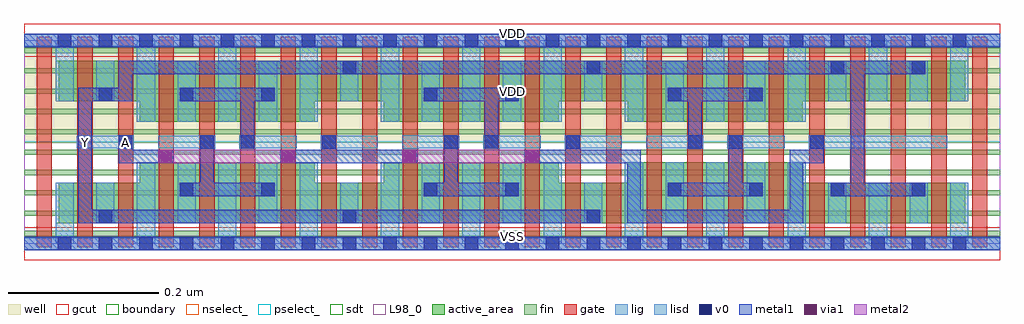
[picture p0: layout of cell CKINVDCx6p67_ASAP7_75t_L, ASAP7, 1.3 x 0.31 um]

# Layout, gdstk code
import gdstk
lib = gdstk.Library(unit=1e-6, precision=2.5e-10)
def R(c, l, rs):  # rectangles x0, y0, x1, y1
    for r in rs: c.add(gdstk.rectangle(r[:2], r[2:], *l))
def A(c, l, x, y, w, h, nx, ny, dx, dy):  # array of equal rectangles
    R(c, l, [(x+i*dx, y+j*dy, x+i*dx+w, y+j*dy+h) for i in range(nx) for j in range(ny)])
def P(c, l, *ps):  # polygons
    for p in ps: c.add(gdstk.Polygon(p, *l))
well = (1, 0)
fin = (2, 0)
gate = (7, 0)
gcut = (10, 0)
active_area = (11, 0)
nselect_ = (12, 0)
pselect_ = (13, 0)
lig = (16, 0)
lisd = (17, 0)
v0 = (18, 0)
metal1 = (19, 0)
metal2 = (20, 0)
via1 = (21, 0)
sdt = (88, 0)
L98_0 = (98, 0)
boundary = (100, 0)

ckinvdcx6p67_asap7_75t_l = lib.new_cell('CKINVDCx6p67_ASAP7_75t_L')
R(ckinvdcx6p67_asap7_75t_l, well, [(0,0.135,1.296,0.27)])
A(ckinvdcx6p67_asap7_75t_l, fin, 0, 0.01, 1.296, 0.007, 1, 10, 0, 0.027)
A(ckinvdcx6p67_asap7_75t_l, gate, 0.017, -0.005, 0.02, 0.28, 24, 1, 0.054, 0)
R(ckinvdcx6p67_asap7_75t_l, gcut, [(0,-0.022,1.296,0.022), (0,0.248,1.296,0.292)])
P(ckinvdcx6p67_asap7_75t_l, active_area, [(1.034,0.108),(0.802,0.108),(0.802,0.081),(0.71,0.081),(0.71,0.108),(0.478,0.108),(0.478,0.081),(0.386,0.081),(0.386,0.108),(0.154,0.108),(0.154,0.081),(0.046,0.081),(0.046,0.027),(1.25,0.027),(1.25,0.081),(1.034,0.081)],
  [(1.25,0.243),(0.046,0.243),(0.046,0.189),(0.154,0.189),(0.154,0.162),(0.386,0.162),(0.386,0.189),(0.478,0.189),(0.478,0.162),(0.71,0.162),(0.71,0.189),(0.802,0.189),(0.802,0.162),(1.034,0.162),(1.034,0.189),(1.25,0.189)])
R(ckinvdcx6p67_asap7_75t_l, nselect_, [(0,0,1.296,0.135)])
R(ckinvdcx6p67_asap7_75t_l, pselect_, [(0,0.135,1.296,0.27)])
A(ckinvdcx6p67_asap7_75t_l, lig, 0.286, 0.126, 0.022, 0.018, 5, 1, 0.108, 0)
A(ckinvdcx6p67_asap7_75t_l, lig, 0.07, 0.127, 0.076, 0.016, 9, 1, 0.108, 0)
R(ckinvdcx6p67_asap7_75t_l, lig, [(0,-0.008,1.296,0.008), (0.124,0.126,0.146,0.144), (0.232,0.126,0.254,0.144), (0.88,0.126,0.902,0.144), (0.934,0.126,0.956,0.144), (1.042,0.126,1.064,0.144), (1.042,0.127,1.226,0.143), (0,0.262,1.296,0.278)])
A(ckinvdcx6p67_asap7_75t_l, lisd, 0.096, 0.027, 0.024, 0.054, 4, 2, 0.324, 0.162)
R(ckinvdcx6p67_asap7_75t_l, lisd, [(0.042,0,0.066,0.081), (0.042,0,0.066,0.081), (0.15,0,0.174,0.108), (0.15,0,0.174,0.108), (0.258,0,0.282,0.108), (0.258,0,0.282,0.108), (0.366,0,0.39,0.108), (0.366,0,0.39,0.108), (0.474,0,0.498,0.108), (0.474,0,0.498,0.108), (0.582,0,0.606,0.108), (0.582,0,0.606,0.108), (0.69,0,0.714,0.108), (0.69,0,0.714,0.108), (0.798,0,0.822,0.108), (0.798,0,0.822,0.108), (0.906,0,0.93,0.108), (0.906,0,0.93,0.108), (1.014,0,1.038,0.108), (1.014,0,1.038,0.108), (1.122,0,1.146,0.081), (1.122,0,1.146,0.081), (1.23,0,1.254,0.081), (1.23,0,1.254,0.081), (0.204,0.027,0.228,0.108), (0.312,0.027,0.336,0.108), (0.528,0.027,0.552,0.108), (0.636,0.027,0.66,0.108), (0.852,0.027,0.876,0.108), (0.96,0.027,0.984,0.108), (1.176,0.027,1.2,0.081), (0.15,0.162,0.174,0.27), (0.15,0.162,0.174,0.27), (0.204,0.162,0.228,0.243), (0.258,0.162,0.282,0.27), (0.258,0.162,0.282,0.27), (0.312,0.162,0.336,0.243), (0.366,0.162,0.39,0.27), (0.366,0.162,0.39,0.27), (0.474,0.162,0.498,0.27), (0.474,0.162,0.498,0.27), (0.528,0.162,0.552,0.243), (0.582,0.162,0.606,0.27), (0.582,0.162,0.606,0.27), (0.636,0.162,0.66,0.243), (0.69,0.162,0.714,0.27), (0.69,0.162,0.714,0.27), (0.798,0.162,0.822,0.27), (0.798,0.162,0.822,0.27), (0.852,0.162,0.876,0.243), (0.906,0.162,0.93,0.27), (0.906,0.162,0.93,0.27), (0.96,0.162,0.984,0.243), (1.014,0.162,1.038,0.27), (1.014,0.162,1.038,0.27), (0.042,0.189,0.066,0.27), (0.042,0.189,0.066,0.27), (1.122,0.189,1.146,0.27), (1.122,0.189,1.146,0.27), (1.176,0.189,1.2,0.243), (1.23,0.189,1.254,0.27), (1.23,0.189,1.254,0.27)])
A(ckinvdcx6p67_asap7_75t_l, v0, 0.045, -0.009, 0.018, 0.018, 23, 2, 0.054, 0.27)
A(ckinvdcx6p67_asap7_75t_l, v0, 0.099, 0.027, 0.018, 0.018, 3, 1, 0.324, 0)
A(ckinvdcx6p67_asap7_75t_l, v0, 0.855, 0.063, 0.018, 0.018, 4, 1, 0.108, 0)
A(ckinvdcx6p67_asap7_75t_l, v0, 0.099, 0.189, 0.018, 0.018, 3, 1, 0.108, 0)
A(ckinvdcx6p67_asap7_75t_l, v0, 0.423, 0.225, 0.018, 0.018, 3, 1, 0.324, 0)
R(ckinvdcx6p67_asap7_75t_l, v0, [(0.207,0.063,0.225,0.081), (0.315,0.063,0.333,0.081), (0.531,0.063,0.549,0.081), (0.639,0.063,0.657,0.081), (0.126,0.126,0.144,0.144), (0.234,0.126,0.252,0.144), (0.288,0.126,0.306,0.144), (0.396,0.126,0.414,0.144), (0.558,0.126,0.576,0.144), (0.612,0.126,0.63,0.144), (0.72,0.126,0.738,0.144), (0.882,0.126,0.9,0.144), (0.936,0.126,0.954,0.144), (1.044,0.126,1.062,0.144), (0.531,0.189,0.549,0.207), (0.639,0.189,0.657,0.207), (0.855,0.189,0.873,0.207), (0.963,0.189,0.981,0.207), (1.179,0.225,1.197,0.243)])
A(ckinvdcx6p67_asap7_75t_l, metal1, 0.099, 0.027, 0.018, 0.018, 3, 1, 0.324, 0)
A(ckinvdcx6p67_asap7_75t_l, metal1, 0.855, 0.063, 0.018, 0.018, 4, 1, 0.108, 0)
A(ckinvdcx6p67_asap7_75t_l, metal1, 0.099, 0.189, 0.018, 0.018, 3, 1, 0.108, 0)
A(ckinvdcx6p67_asap7_75t_l, metal1, 0.423, 0.225, 0.018, 0.018, 3, 1, 0.324, 0)
R(ckinvdcx6p67_asap7_75t_l, metal1, [(0,-0.009,1.296,0.009), (0.207,0.063,0.225,0.081), (0.315,0.063,0.333,0.081), (0.531,0.063,0.549,0.081), (0.639,0.063,0.657,0.081), (0.18,0.107,0.198,0.125), (0.34,0.107,0.362,0.125), (0.504,0.107,0.522,0.125), (0.664,0.107,0.686,0.125), (0.126,0.126,0.144,0.144), (0.234,0.126,0.252,0.144), (0.288,0.126,0.306,0.144), (0.396,0.126,0.414,0.144), (0.558,0.126,0.576,0.144), (0.612,0.126,0.63,0.144), (0.72,0.126,0.738,0.144), (0.882,0.126,0.9,0.144), (0.936,0.126,0.954,0.144), (1.044,0.126,1.062,0.144), (0.531,0.189,0.549,0.207), (0.639,0.189,0.657,0.207), (0.855,0.189,0.873,0.207), (0.963,0.189,0.981,0.207), (1.179,0.225,1.197,0.243), (0,0.261,1.296,0.279)])
P(ckinvdcx6p67_asap7_75t_l, metal1, [(1.044,0.144),(1.044,0.125),(1.017,0.125),(1.017,0.045),(0.819,0.045),(0.819,0.125),(0.738,0.125),(0.738,0.144),(0.72,0.144),(0.72,0.125),(0.666,0.125),(0.666,0.107),(0.801,0.107),(0.801,0.027),(1.035,0.027),(1.035,0.107),(1.062,0.107),(1.062,0.144)],
  [(0.198,0.125),(0.144,0.125),(0.144,0.144),(0.126,0.144),(0.126,0.107),(0.198,0.107)],
  [(0.522,0.125),(0.414,0.125),(0.414,0.144),(0.396,0.144),(0.396,0.125),(0.342,0.125),(0.342,0.107),(0.522,0.107)],
  [(1.197,0.243),(0.126,0.243),(0.126,0.207),(0.072,0.207),(0.072,0.027),(0.765,0.027),(0.765,0.045),(0.09,0.045),(0.09,0.189),(0.144,0.189),(0.144,0.225),(1.098,0.225),(1.098,0.081),(1.071,0.081),(1.071,0.063),(1.197,0.063),(1.197,0.081),(1.116,0.081),(1.116,0.225),(1.197,0.225)],
  [(0.252,0.144),(0.234,0.144),(0.234,0.081),(0.207,0.081),(0.207,0.063),(0.333,0.063),(0.333,0.081),(0.252,0.081)],
  [(0.207,0.189),(0.288,0.189),(0.288,0.126),(0.306,0.126),(0.306,0.189),(0.333,0.189),(0.333,0.207),(0.207,0.207)],
  [(0.576,0.144),(0.558,0.144),(0.558,0.081),(0.531,0.081),(0.531,0.063),(0.657,0.063),(0.657,0.081),(0.576,0.081)],
  [(0.531,0.189),(0.612,0.189),(0.612,0.126),(0.63,0.126),(0.63,0.189),(0.657,0.189),(0.657,0.207),(0.531,0.207)],
  [(0.981,0.207),(0.855,0.207),(0.855,0.189),(0.882,0.189),(0.882,0.126),(0.9,0.126),(0.9,0.189),(0.981,0.189)],
  [(0.981,0.081),(0.954,0.081),(0.954,0.144),(0.936,0.144),(0.936,0.081),(0.855,0.081),(0.855,0.063),(0.981,0.063)])
R(ckinvdcx6p67_asap7_75t_l, metal2, [(0.178,0.107,0.36,0.125), (0.502,0.107,0.684,0.125)])
R(ckinvdcx6p67_asap7_75t_l, via1, [(0.178,0.107,0.196,0.125), (0.342,0.107,0.36,0.125), (0.502,0.107,0.52,0.125), (0.666,0.107,0.684,0.125)])
A(ckinvdcx6p67_asap7_75t_l, sdt, 0.096, 0.027, 0.024, 0.054, 4, 2, 0.324, 0.162)
A(ckinvdcx6p67_asap7_75t_l, sdt, 0.15, 0.027, 0.024, 0.081, 3, 2, 0.054, 0.135)
A(ckinvdcx6p67_asap7_75t_l, sdt, 0.258, 0.027, 0.024, 0.081, 3, 2, 0.054, 0.135)
A(ckinvdcx6p67_asap7_75t_l, sdt, 0.474, 0.027, 0.024, 0.081, 3, 2, 0.054, 0.135)
A(ckinvdcx6p67_asap7_75t_l, sdt, 0.582, 0.027, 0.024, 0.081, 3, 2, 0.054, 0.135)
A(ckinvdcx6p67_asap7_75t_l, sdt, 0.798, 0.027, 0.024, 0.081, 3, 2, 0.054, 0.135)
A(ckinvdcx6p67_asap7_75t_l, sdt, 0.906, 0.027, 0.024, 0.081, 3, 2, 0.054, 0.135)
A(ckinvdcx6p67_asap7_75t_l, sdt, 1.122, 0.027, 0.024, 0.054, 3, 2, 0.054, 0.162)
R(ckinvdcx6p67_asap7_75t_l, sdt, [(0.042,0.027,0.066,0.081), (0.042,0.027,0.066,0.081), (0.15,0.027,0.174,0.108), (0.366,0.027,0.39,0.108), (0.474,0.027,0.498,0.108), (0.69,0.027,0.714,0.108), (0.798,0.027,0.822,0.108), (1.014,0.027,1.038,0.108), (1.122,0.027,1.146,0.081), (1.23,0.027,1.254,0.081), (0.15,0.162,0.174,0.243), (0.366,0.162,0.39,0.243), (0.474,0.162,0.498,0.243), (0.69,0.162,0.714,0.243), (0.798,0.162,0.822,0.243), (1.014,0.162,1.038,0.243), (0.042,0.189,0.066,0.243), (0.042,0.189,0.066,0.243), (1.122,0.189,1.146,0.243), (1.23,0.189,1.254,0.243)])
R(ckinvdcx6p67_asap7_75t_l, L98_0, [(0,0,1.296,0.27)])
R(ckinvdcx6p67_asap7_75t_l, boundary, [(0,0,1.296,0.27)])
ckinvdcx6p67_asap7_75t_l.add(gdstk.Label('VDD', (0.648,0.2025), layer=1, texttype=251))
ckinvdcx6p67_asap7_75t_l.add(gdstk.Label('VSS', (0.648,-0.0675), layer=3, texttype=251))
ckinvdcx6p67_asap7_75t_l.add(gdstk.Label('VSS', (0.648,0.009), layer=19, texttype=251))
ckinvdcx6p67_asap7_75t_l.add(gdstk.Label('VDD', (0.648,0.279), layer=19, texttype=251))
ckinvdcx6p67_asap7_75t_l.add(gdstk.Label('A', (0.135,0.135), layer=19, texttype=251))
ckinvdcx6p67_asap7_75t_l.add(gdstk.Label('Y', (0.081,0.135), layer=19, texttype=251))

lib.write_gds('CKINVDCx6p67_ASAP7_75t_L.gds')
